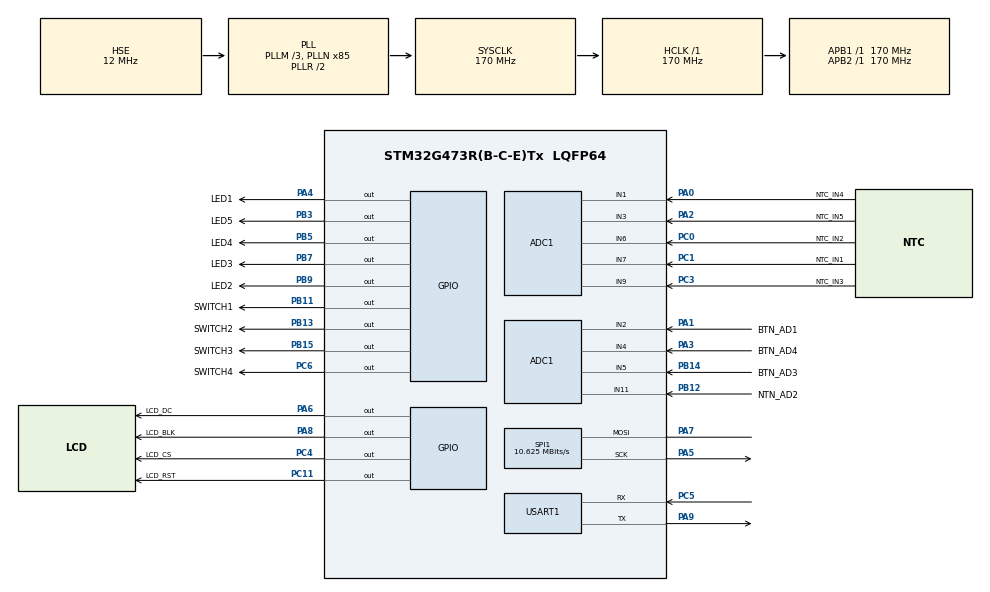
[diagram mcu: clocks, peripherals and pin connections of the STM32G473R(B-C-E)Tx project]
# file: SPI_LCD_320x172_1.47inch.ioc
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ADC1.Channel-1\#ChannelRegularConversion=ADC_CHANNEL_7
ADC1.Channel-10\#ChannelRegularConversion=ADC_CHANNEL_11
ADC1.Channel-11\#ChannelRegularConversion=ADC_CHANNEL_5
ADC1.Channel-12\#ChannelRegularConversion=ADC_CHANNEL_4
ADC1.Channel-2\#ChannelRegularConversion=ADC_CHANNEL_6
ADC1.Channel-3\#ChannelRegularConversion=ADC_CHANNEL_9
ADC1.Channel-4\#ChannelRegularConversion=ADC_CHANNEL_1
ADC1.Channel-5\#ChannelRegularConversion=ADC_CHANNEL_3
ADC1.Channel-9\#ChannelRegularConversion=ADC_CHANNEL_2
ADC1.ContinuousConvMode=ENABLE
ADC1.DMAContinuousRequests=ENABLE
ADC1.EOCSelection=ADC_EOC_SINGLE_CONV
ADC1.NbrOfConversion=9
ADC1.NbrOfConversionFlag=1
ADC1.OffsetNumber-1\#ChannelRegularConversion=ADC_OFFSET_NONE
ADC1.OffsetNumber-10\#ChannelRegularConversion=ADC_OFFSET_NONE
ADC1.OffsetNumber-11\#ChannelRegularConversion=ADC_OFFSET_NONE
ADC1.OffsetNumber-12\#ChannelRegularConversion=ADC_OFFSET_NONE
ADC1.OffsetNumber-2\#ChannelRegularConversion=ADC_OFFSET_NONE
ADC1.OffsetNumber-3\#ChannelRegularConversion=ADC_OFFSET_NONE
ADC1.OffsetNumber-4\#ChannelRegularConversion=ADC_OFFSET_NONE
ADC1.OffsetNumber-5\#ChannelRegularConversion=ADC_OFFSET_NONE
ADC1.OffsetNumber-9\#ChannelRegularConversion=ADC_OFFSET_NONE
ADC1.Overrun=ADC_OVR_DATA_OVERWRITTEN
ADC1.OversamplingMode=DISABLE
ADC1.Rank-1\#ChannelRegularConversion=1
ADC1.Rank-10\#ChannelRegularConversion=7
ADC1.Rank-11\#ChannelRegularConversion=8
ADC1.Rank-12\#ChannelRegularConversion=9
ADC1.Rank-2\#ChannelRegularConversion=2
ADC1.Rank-3\#ChannelRegularConversion=3
ADC1.Rank-4\#ChannelRegularConversion=4
ADC1.Rank-5\#ChannelRegularConversion=5
ADC1.Rank-9\#ChannelRegularConversion=6
ADC1.SamplingTime-1\#ChannelRegularConversion=ADC_SAMPLETIME_247CYCLES_5
ADC1.SamplingTime-10\#ChannelRegularConversion=ADC_SAMPLETIME_247CYCLES_5
ADC1.SamplingTime-11\#ChannelRegularConversion=ADC_SAMPLETIME_247CYCLES_5
ADC1.SamplingTime-12\#ChannelRegularConversion=ADC_SAMPLETIME_247CYCLES_5
ADC1.SamplingTime-2\#ChannelRegularConversion=ADC_SAMPLETIME_247CYCLES_5
ADC1.SamplingTime-3\#ChannelRegularConversion=ADC_SAMPLETIME_247CYCLES_5
ADC1.SamplingTime-4\#ChannelRegularConversion=ADC_SAMPLETIME_247CYCLES_5
ADC1.SamplingTime-5\#ChannelRegularConversion=ADC_SAMPLETIME_247CYCLES_5
ADC1.SamplingTime-9\#ChannelRegularConversion=ADC_SAMPLETIME_247CYCLES_5
ADC1.master=1
Dma.ADC1.0.Direction=DMA_PERIPH_TO_MEMORY
Dma.ADC1.0.EventEnable=DISABLE
Dma.ADC1.0.Instance=DMA1_Channel1
Dma.ADC1.0.MemDataAlignment=DMA_MDATAALIGN_HALFWORD
Dma.ADC1.0.MemInc=DMA_MINC_ENABLE
Dma.ADC1.0.Mode=DMA_CIRCULAR
Dma.ADC1.0.PeriphDataAlignment=DMA_PDATAALIGN_HALFWORD
Dma.ADC1.0.PeriphInc=DMA_PINC_DISABLE
Dma.ADC1.0.Polarity=HAL_DMAMUX_REQ_GEN_RISING
Dma.ADC1.0.Priority=DMA_PRIORITY_LOW
Dma.ADC1.0.RequestNumber=1
Dma.ADC1.0.SignalID=NONE
Dma.ADC1.0.SyncEnable=DISABLE
Dma.ADC1.0.SyncPolarity=HAL_DMAMUX_SYNC_NO_EVENT
Dma.ADC1.0.SyncRequestNumber=1
Dma.ADC1.0.SyncSignalID=NONE
Dma.Request0=ADC1
Mcu.Family=STM32G4
Mcu.Name=STM32G473R(B-C-E)Tx
Mcu.Package=LQFP64
NVIC.ADC1_2_IRQn=true\:0\:0\:false\:false\:true\:true\:true\:true
NVIC.DMA1_Channel1_IRQn=true\:0\:0\:false\:false\:true\:false\:true\:true
NVIC.PriorityGroup=NVIC_PRIORITYGROUP_4
PA0.GPIO_Label=NTC_IN4
PA0.Mode=IN1-Single-Ended
PA0.Signal=ADC1_IN1
PA1.GPIO_Label=BTN_AD1
PA1.Mode=IN2-Single-Ended
PA1.Signal=ADC1_IN2
PA13.Mode=Serial_Wire
PA13.Signal=SYS_JTMS-SWDIO
PA14.Mode=Serial_Wire
PA14.Signal=SYS_JTCK-SWCLK
PA2.GPIO_Label=NTC_IN5
PA2.Signal=SharedAnalog_PA2
PA3.GPIO_Label=BTN_AD4
PA3.Mode=IN4-Single-Ended
PA3.Signal=ADC1_IN4
PA4.GPIO_Label=LED1
PA4.Signal=GPIO_Output
PA5.GPIO_PuPd=GPIO_PULLUP
PA5.GPIO_Speed=GPIO_SPEED_FREQ_HIGH
PA5.Mode=Simplex_Bidirectional_Master
PA5.Signal=SPI1_SCK
PA6.GPIO_Label=LCD_DC
PA6.Signal=GPIO_Output
PA7.GPIO_PuPd=GPIO_PULLUP
PA7.GPIO_Speed=GPIO_SPEED_FREQ_HIGH
PA7.Mode=Simplex_Bidirectional_Master
PA7.Signal=SPI1_MOSI
PA8.GPIO_Label=LCD_BLK
PA8.Signal=GPIO_Output
PA9.Mode=Asynchronous
PA9.Signal=USART1_TX
PB11.GPIO_Label=SWITCH1
PB11.Signal=GPIO_Output
PB12.GPIO_Label=NTN_AD2
PB12.Mode=IN11-Single-Ended
PB12.Signal=ADC1_IN11
PB13.GPIO_Label=SWITCH2
PB13.Signal=GPIO_Output
PB14.GPIO_Label=BTN_AD3
PB14.Mode=IN5-Single-Ended
PB14.Signal=ADC1_IN5
PB15.GPIO_Label=SWITCH3
PB15.Signal=GPIO_Output
PB3.GPIO_Label=LED5
PB3.Signal=GPIO_Output
PB5.GPIO_Label=LED4
PB5.Signal=GPIO_Output
PB7.GPIO_Label=LED3
PB7.Signal=GPIO_Output
PB9.GPIO_Label=LED2
PB9.Signal=GPIO_Output
PC0.GPIO_Label=NTC_IN2
PC0.Mode=IN6-Single-Ended
PC0.Signal=ADC1_IN6
PC1.GPIO_Label=NTC_IN1
PC1.Mode=IN7-Single-Ended
PC1.Signal=ADC1_IN7
PC11.GPIO_Label=LCD_RST
PC11.Signal=GPIO_Output
PC3.GPIO_Label=NTC_IN3
PC3.Mode=IN9-Single-Ended
PC3.Signal=ADC1_IN9
PC4.GPIO_Label=LCD_CS
PC4.Signal=GPIO_Output
PC5.Mode=Asynchronous
PC5.Signal=USART1_RX
PC6.GPIO_Label=SWITCH4
PC6.Signal=GPIO_Output
PF0-OSC_IN.Mode=HSE-External-Oscillator
PF0-OSC_IN.Signal=RCC_OSC_IN
PF1-OSC_OUT.Mode=HSE-External-Oscillator
PF1-OSC_OUT.Signal=RCC_OSC_OUT
ProjectManager.HeapSize=0x200
ProjectManager.StackSize=0x400
ProjectManager.TargetToolchain=MDK-ARM V5.32
RCC.ADC12Freq_Value=170000000
RCC.ADC345Freq_Value=170000000
RCC.AHBFreq_Value=170000000
RCC.APB1Freq_Value=170000000
RCC.APB1TimFreq_Value=170000000
RCC.APB2Freq_Value=170000000
RCC.APB2TimFreq_Value=170000000
RCC.CortexFreq_Value=170000000
RCC.EXTERNAL_CLOCK_VALUE=12288000
RCC.FLatency=FLASH_LATENCY_4
RCC.HCLKFreq_Value=170000000
RCC.HSE_VALUE=12000000
RCC.HSI48_VALUE=48000000
RCC.HSI_VALUE=16000000
RCC.LSE_VALUE=32768
RCC.PLLM=RCC_PLLM_DIV3
RCC.PLLN=85
RCC.PLLSourceVirtual=RCC_PLLSOURCE_HSE
RCC.PWR_Regulator_Voltage_Scale=PWR_REGULATOR_VOLTAGE_SCALE1_BOOST
RCC.SYSCLKFreq_VALUE=170000000
RCC.SYSCLKSource=RCC_SYSCLKSOURCE_PLLCLK
RCC.USBFreq_Value=170000000
RCC.VCOOutputFreq_Value=340000000
SH.SharedAnalog_PA2.0=GPIO_Analog
SH.SharedAnalog_PA2.1=ADC1_IN3,IN3-Single-Ended
SPI1.BaudRatePrescaler=SPI_BAUDRATEPRESCALER_16
SPI1.CLKPhase=SPI_PHASE_2EDGE
SPI1.CLKPolarity=SPI_POLARITY_HIGH
SPI1.CRCCalculation=SPI_CRCCALCULATION_DISABLE
SPI1.CalculateBaudRate=10.625 MBits/s
SPI1.DataSize=SPI_DATASIZE_8BIT
SPI1.Direction=SPI_DIRECTION_1LINE
SPI1.FirstBit=SPI_FIRSTBIT_MSB
SPI1.Mode=SPI_MODE_MASTER
SPI1.NSS=SPI_NSS_SOFT
SPI1.TIMode=SPI_TIMODE_DISABLE
SPI1.VirtualType=VM_MASTER
USART1.VirtualMode-Asynchronous=VM_ASYNC
VP_SYS_VS_DBSignals.Mode=DisableDeadBatterySignals
board=custom

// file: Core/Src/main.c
/* USER CODE BEGIN Header */
/**
  ******************************************************************************
  * @file           : main.c
  * @brief          : Main program body
  ******************************************************************************
  * @attention
  *
  * Copyright (c) 2023 STMicroelectronics.
  * All rights reserved.
  *
  * This software is licensed under terms that can be found in the LICENSE file
  * in the root directory of this software component.
  * If no LICENSE file comes with this software, it is provided AS-IS.
  *
  ******************************************************************************
  */
/* USER CODE END Header */
#include "main.h"
#include "adc.h"
#include "dma.h"
#include "spi.h"
#include "usart.h"
#include "gpio.h"

/* USER CODE BEGIN Includes */
#include "lcd.h"
#include "temperature.h"
#include "switch.h"
/* USER CODE END Includes */

/* USER CODE BEGIN PTD */
#define ADC_BUFFER_SIZE   9
#define TEMP_BUFFER_SIZE   5
#define  ENV_TMP_INDEX     4
__IO uint16_t   adc_dma_buffer[ADC_BUFFER_SIZE];
__IO float   		voltage[ADC_BUFFER_SIZE];
__IO float   		temps[TEMP_BUFFER_SIZE];

/* USER CODE END PTD */

/* USER CODE BEGIN PD */
#define CHANNEL_COUNT 9
#define MAX_NAME_LENGTH 20

const char ChName[CHANNEL_COUNT][MAX_NAME_LENGTH]={
	"NTC1",
	"NTC2",
	"NTC3",
	"NTC4",
	"NTC5",
	"AD1",
	"AD2",
	"AD3",
	"AD4"
};
/* USER CODE END PD */

void SystemClock_Config(void);

int main(void)
{

  /* MCU Configuration--------------------------------------------------------*/

  /* Reset of all peripherals, Initializes the Flash interface and the Systick. */
  HAL_Init();

  /* Configure the system clock */
  SystemClock_Config();

  /* Initialize all configured peripherals */
  MX_GPIO_Init();
  MX_DMA_Init();
  MX_SPI1_Init();
  MX_ADC1_Init();
  MX_USART1_UART_Init();
  /* USER CODE BEGIN 2 */
  Lcd_Init();
  Lcd_Clear(BLACK);
  HAL_ADCEx_Calibration_Start(&hadc1, ADC_SINGLE_ENDED);
  HAL_ADC_Start_DMA(&hadc1, (uint32_t *)&adc_dma_buffer, ADC_BUFFER_SIZE);

	float scale = (3.3f/4096.0f);
  /* USER CODE END 2 */

  /* Infinite loop */
  while (1)
  {

    /* USER CODE BEGIN 3 */
		for(int i=0; i<ADC_BUFFER_SIZE; i++) {
			float val = (float)adc_dma_buffer[i] * scale ;
            if (val<0.01f){
                //去除无用数据
                continue;
            }
			voltage[i]=val;
			if (i<TEMP_BUFFER_SIZE){
                temps[i]=GetTemperature(val);
                if (i==ENV_TMP_INDEX){
                    envTemp = temps[ENV_TMP_INDEX];
                }
            }
		}
			Lcd_print( 0,  20,   RED, "> ch1 %.2f",temps[0]);
			Lcd_print( 150,  20,   RED, "> ch2 %.2f",temps[1]);

			Lcd_print( 0,  50,  BLUE, "> ch3 %.2f",temps[2]);
			Lcd_print( 150,  50,  BLUE, "> ch4 %.2f",temps[3]);

			Lcd_print( 0,  80,  BLUE, "> ch5 %.2f",temps[4]);
			UpdateSwitch(temps,TEMP_BUFFER_SIZE-1);
			Lcd_print( 150,  80,  BLUE, "> ch6 %.2f",voltage[5]);

			Lcd_print( 0,  110,  BLUE, "> ch7 %.2f",voltage[6]);
			Lcd_print( 150,  110,  BLUE, "> ch8 %.2f",voltage[7]);

			Lcd_print( 0,  140,  BLUE, "> ch9 %.2f",voltage[8]);

		HAL_ADC_Start_DMA(&hadc1, (uint32_t *)&adc_dma_buffer, ADC_BUFFER_SIZE);

  }
  /* USER CODE END 3 */
}

void SystemClock_Config(void)
{
  RCC_OscInitTypeDef RCC_OscInitStruct = {0};
  RCC_ClkInitTypeDef RCC_ClkInitStruct = {0};

  /** Configure the main internal regulator output voltage
  */
  HAL_PWREx_ControlVoltageScaling(PWR_REGULATOR_VOLTAGE_SCALE1_BOOST);

  /** Initializes the RCC Oscillators according to the specified parameters
  * in the RCC_OscInitTypeDef structure.
  */
  RCC_OscInitStruct.OscillatorType = RCC_OSCILLATORTYPE_HSE;
  RCC_OscInitStruct.HSEState = RCC_HSE_ON;
  RCC_OscInitStruct.PLL.PLLState = RCC_PLL_ON;
  RCC_OscInitStruct.PLL.PLLSource = RCC_PLLSOURCE_HSE;
  RCC_OscInitStruct.PLL.PLLM = RCC_PLLM_DIV3;
  RCC_OscInitStruct.PLL.PLLN = 85;
  RCC_OscInitStruct.PLL.PLLP = RCC_PLLP_DIV2;
  RCC_OscInitStruct.PLL.PLLQ = RCC_PLLQ_DIV2;
  RCC_OscInitStruct.PLL.PLLR = RCC_PLLR_DIV2;
  if (HAL_RCC_OscConfig(&RCC_OscInitStruct) != HAL_OK)
  {
    Error_Handler();
  }

  /** Initializes the CPU, AHB and APB buses clocks
  */
  RCC_ClkInitStruct.ClockType = RCC_CLOCKTYPE_HCLK|RCC_CLOCKTYPE_SYSCLK
                              |RCC_CLOCKTYPE_PCLK1|RCC_CLOCKTYPE_PCLK2;
  RCC_ClkInitStruct.SYSCLKSource = RCC_SYSCLKSOURCE_PLLCLK;
  RCC_ClkInitStruct.AHBCLKDivider = RCC_SYSCLK_DIV1;
  RCC_ClkInitStruct.APB1CLKDivider = RCC_HCLK_DIV1;
  RCC_ClkInitStruct.APB2CLKDivider = RCC_HCLK_DIV1;

  if (HAL_RCC_ClockConfig(&RCC_ClkInitStruct, FLASH_LATENCY_4) != HAL_OK)
  {
    Error_Handler();
  }
}

void Error_Handler(void)
{
  __disable_irq();
  while (1)
  {
  }
}
